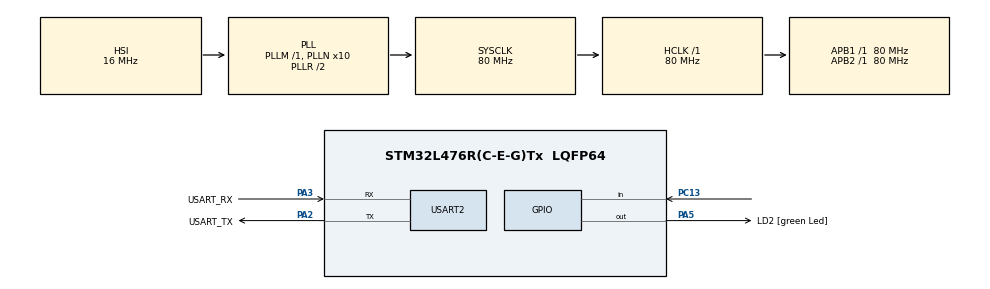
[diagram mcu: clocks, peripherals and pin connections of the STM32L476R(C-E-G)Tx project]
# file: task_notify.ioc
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FREERTOS.Tasks01=defaultTask,0,128,StartDefaultTask,Default,NULL,Dynamic,NULL,NULL
Mcu.Family=STM32L4
Mcu.Name=STM32L476R(C-E-G)Tx
Mcu.Package=LQFP64
NVIC.PriorityGroup=NVIC_PRIORITYGROUP_4
PA13\ (JTMS-SWDIO).GPIO_Label=TMS
PA13\ (JTMS-SWDIO).Mode=Serial_Wire
PA13\ (JTMS-SWDIO).Signal=SYS_JTMS-SWDIO
PA14\ (JTCK-SWCLK).GPIO_Label=TCK
PA14\ (JTCK-SWCLK).Mode=Serial_Wire
PA14\ (JTCK-SWCLK).Signal=SYS_JTCK-SWCLK
PA2.GPIO_Label=USART_TX
PA2.GPIO_Mode=GPIO_MODE_AF_PP
PA2.GPIO_PuPd=GPIO_NOPULL
PA2.GPIO_Speed=GPIO_SPEED_FREQ_VERY_HIGH
PA2.Mode=Asynchronous
PA2.Signal=USART2_TX
PA3.GPIO_Label=USART_RX
PA3.GPIO_Mode=GPIO_MODE_AF_PP
PA3.GPIO_PuPd=GPIO_NOPULL
PA3.GPIO_Speed=GPIO_SPEED_FREQ_VERY_HIGH
PA3.Mode=Asynchronous
PA3.Signal=USART2_RX
PA5.GPIO_Label=LD2 [green Led]
PA5.GPIO_ModeDefaultOutputPP=GPIO_MODE_OUTPUT_PP
PA5.GPIO_PuPd=GPIO_NOPULL
PA5.GPIO_Speed=GPIO_SPEED_FREQ_LOW
PA5.Signal=GPIO_Output
PB3\ (JTDO-TRACESWO).GPIO_Label=SWO
PB3\ (JTDO-TRACESWO).Signal=SYS_JTDO-SWO
PC13.Signal=GPIO_Input
PC14-OSC32_IN\ (PC14).Mode=LSE-External-Oscillator
PC14-OSC32_IN\ (PC14).Signal=RCC_OSC32_IN
PC15-OSC32_OUT\ (PC15).Mode=LSE-External-Oscillator
PC15-OSC32_OUT\ (PC15).Signal=RCC_OSC32_OUT
PH0-OSC_IN\ (PH0).Signal=RCC_OSC_IN
PH1-OSC_OUT\ (PH1).Signal=RCC_OSC_OUT
ProjectManager.HeapSize=0x200
ProjectManager.StackSize=0x400
ProjectManager.TargetToolchain=STM32CubeIDE
RCC.ADCFreq_Value=64000000
RCC.AHBFreq_Value=80000000
RCC.APB1Freq_Value=80000000
RCC.APB1TimFreq_Value=80000000
RCC.APB2Freq_Value=80000000
RCC.APB2TimFreq_Value=80000000
RCC.CortexFreq_Value=80000000
RCC.HCLKFreq_Value=80000000
RCC.HSE_VALUE=8000000
RCC.HSI_VALUE=16000000
RCC.MSI_VALUE=4000000
RCC.PLLN=10
RCC.PLLSourceVirtual=RCC_PLLSOURCE_HSI
RCC.PREFETCH_ENABLE=1
RCC.SYSCLKFreq_VALUE=80000000
RCC.SYSCLKSource=RCC_SYSCLKSOURCE_PLLCLK
RCC.USBFreq_Value=64000000
RCC.VCOOutputFreq_Value=160000000
USART2.VirtualMode-Asynchronous=VM_ASYNC
VP_FREERTOS_VS_CMSIS_V1.Mode=CMSIS_V1
board=NUCLEO-L476RG

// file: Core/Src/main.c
/* USER CODE BEGIN Header */
/**
  ******************************************************************************
  * @file           : main.c
  * @brief          : Main program body
  ******************************************************************************
  * @attention
  *
  * Copyright (c) 2025 STMicroelectronics.
  * All rights reserved.
  *
  * This software is licensed under terms that can be found in the LICENSE file
  * in the root directory of this software component.
  * If no LICENSE file comes with this software, it is provided AS-IS.
  *
  ******************************************************************************
  */
/* USER CODE END Header */
#include "main.h"
#include "cmsis_os.h"

/* USER CODE BEGIN Includes */
#include<stdio.h>
#include<string.h>
/* USER CODE END Includes */

UART_HandleTypeDef huart2; //USART2 handle

osThreadId defaultTaskHandle; //  default task handle
/* USER CODE BEGIN PV */
char msg[50];  // msg to store and format to s=transmit via UART
TaskHandle_t xTaskHandle1=NULL; // handle for task 1
TaskHandle_t xTaskHandle2=NULL; // handle for task 2

/* USER CODE END PV */

void SystemClock_Config(void);
static void MX_GPIO_Init(void);
static void MX_USART2_UART_Init(void);
void StartDefaultTask(void const * argument);

/* USER CODE BEGIN 0 */
// Function to send a string via UART2
void uart_send(char *s)
{
    HAL_UART_Transmit(&huart2, (uint8_t*)s, strlen(s), 1000); // Send string using UART
}

// Task for LED control (waits for notifications)
void task_led(void * p)
{
    uint32_t current_notify_value = 0;  // Variable to hold notification count

    while(1) // Infinite loop
    {
        // Wait indefinitely for a notification
        if (xTaskNotifyWait(0, 0, &current_notify_value, portMAX_DELAY) == pdTRUE)
        {
            HAL_GPIO_TogglePin(GPIOA, GPIO_PIN_5); // Toggle LED on PA5
            sprintf(msg, "Notification received %ld\r\n", current_notify_value); // Format message
            uart_send(msg); // Send message via UART
        }
    }
}

// Task for button monitoring
void task_button(void *p)
{
    while(1) // Infinite loop
    {
        // Check if button on PC13 is pressed
        if (!(HAL_GPIO_ReadPin(GPIOC, GPIO_PIN_13)))
        {
            vTaskDelay(1000);  // Debounce delay
            xTaskNotify(xTaskHandle1, 0X0, eIncrement); // Send notification to LED task
        }
    }
}

/* USER CODE END 0 */

int main(void)
{

  /* MCU Configuration--------------------------------------------------------*/

  /* Reset of all peripherals, Initializes the Flash interface and the Systick. */
  HAL_Init();

  /* Configure the system clock */
  SystemClock_Config();

  /* Initialize all configured peripherals */
  MX_GPIO_Init();
  MX_USART2_UART_Init();

  /* Create the thread(s) */
  /* definition and creation of defaultTask */
  osThreadDef(defaultTask, StartDefaultTask, osPriorityNormal, 0, 128);
  defaultTaskHandle = osThreadCreate(osThread(defaultTask), NULL);

  /* USER CODE BEGIN RTOS_THREADS */
  xTaskCreate(task_led, "LED", configMINIMAL_STACK_SIZE,NULL, 1, &xTaskHandle1);  // task 1 creation with priority 1
  xTaskCreate(task_button, "BUTTON", configMINIMAL_STACK_SIZE, NULL, 1, &xTaskHandle2); // task 1 creation with priority 2
  /* USER CODE END RTOS_THREADS */

  /* Start scheduler */
  osKernelStart();

  /* We should never get here as control is now taken by the scheduler */

  /* Infinite loop */
  while (1)
  {

  }
}

void SystemClock_Config(void)
{
  RCC_OscInitTypeDef RCC_OscInitStruct = {0};
  RCC_ClkInitTypeDef RCC_ClkInitStruct = {0};

  /** Configure the main internal regulator output voltage
  */
  if (HAL_PWREx_ControlVoltageScaling(PWR_REGULATOR_VOLTAGE_SCALE1) != HAL_OK)
  {
    Error_Handler();
  }

  /** Initializes the RCC Oscillators according to the specified parameters
  * in the RCC_OscInitTypeDef structure.
  */
  RCC_OscInitStruct.OscillatorType = RCC_OSCILLATORTYPE_HSI;
  RCC_OscInitStruct.HSIState = RCC_HSI_ON;
  RCC_OscInitStruct.HSICalibrationValue = RCC_HSICALIBRATION_DEFAULT;
  RCC_OscInitStruct.PLL.PLLState = RCC_PLL_ON;
  RCC_OscInitStruct.PLL.PLLSource = RCC_PLLSOURCE_HSI;
  RCC_OscInitStruct.PLL.PLLM = 1;
  RCC_OscInitStruct.PLL.PLLN = 10;
  RCC_OscInitStruct.PLL.PLLP = RCC_PLLP_DIV7;
  RCC_OscInitStruct.PLL.PLLQ = RCC_PLLQ_DIV2;
  RCC_OscInitStruct.PLL.PLLR = RCC_PLLR_DIV2;
  if (HAL_RCC_OscConfig(&RCC_OscInitStruct) != HAL_OK)
  {
    Error_Handler();
  }

  /** Initializes the CPU, AHB and APB buses clocks
  */
  RCC_ClkInitStruct.ClockType = RCC_CLOCKTYPE_HCLK|RCC_CLOCKTYPE_SYSCLK
                              |RCC_CLOCKTYPE_PCLK1|RCC_CLOCKTYPE_PCLK2;
  RCC_ClkInitStruct.SYSCLKSource = RCC_SYSCLKSOURCE_PLLCLK;
  RCC_ClkInitStruct.AHBCLKDivider = RCC_SYSCLK_DIV1;
  RCC_ClkInitStruct.APB1CLKDivider = RCC_HCLK_DIV1;
  RCC_ClkInitStruct.APB2CLKDivider = RCC_HCLK_DIV1;

  if (HAL_RCC_ClockConfig(&RCC_ClkInitStruct, FLASH_LATENCY_4) != HAL_OK)
  {
    Error_Handler();
  }
}

static void MX_USART2_UART_Init(void)
{

  huart2.Instance = USART2;
  huart2.Init.BaudRate = 115200;
  huart2.Init.WordLength = UART_WORDLENGTH_8B;
  huart2.Init.StopBits = UART_STOPBITS_1;
  huart2.Init.Parity = UART_PARITY_NONE;
  huart2.Init.Mode = UART_MODE_TX_RX;
  huart2.Init.HwFlowCtl = UART_HWCONTROL_NONE;
  huart2.Init.OverSampling = UART_OVERSAMPLING_16;
  huart2.Init.OneBitSampling = UART_ONE_BIT_SAMPLE_DISABLE;
  huart2.AdvancedInit.AdvFeatureInit = UART_ADVFEATURE_NO_INIT;
  if (HAL_UART_Init(&huart2) != HAL_OK)
  {
    Error_Handler();
  }

}

static void MX_GPIO_Init(void)
{
  GPIO_InitTypeDef GPIO_InitStruct = {0};

  /* GPIO Ports Clock Enable */
  __HAL_RCC_GPIOC_CLK_ENABLE();
  __HAL_RCC_GPIOH_CLK_ENABLE();
  __HAL_RCC_GPIOA_CLK_ENABLE();
  __HAL_RCC_GPIOB_CLK_ENABLE();

  /*Configure GPIO pin Output Level */
  HAL_GPIO_WritePin(LD2_GPIO_Port, LD2_Pin, GPIO_PIN_RESET);

  /*Configure GPIO pin : PC13 */
  GPIO_InitStruct.Pin = GPIO_PIN_13;
  GPIO_InitStruct.Mode = GPIO_MODE_INPUT;
  GPIO_InitStruct.Pull = GPIO_NOPULL;
  HAL_GPIO_Init(GPIOC, &GPIO_InitStruct);

  /*Configure GPIO pin : LD2_Pin */
  GPIO_InitStruct.Pin = LD2_Pin;
  GPIO_InitStruct.Mode = GPIO_MODE_OUTPUT_PP;
  GPIO_InitStruct.Pull = GPIO_NOPULL;
  GPIO_InitStruct.Speed = GPIO_SPEED_FREQ_LOW;
  HAL_GPIO_Init(LD2_GPIO_Port, &GPIO_InitStruct);

}

void StartDefaultTask(void const * argument)
{
  for(;;)
  {
    osDelay(1);
  }
}

void Error_Handler(void)
{
  __disable_irq();
  while (1)
  {
  }
}
